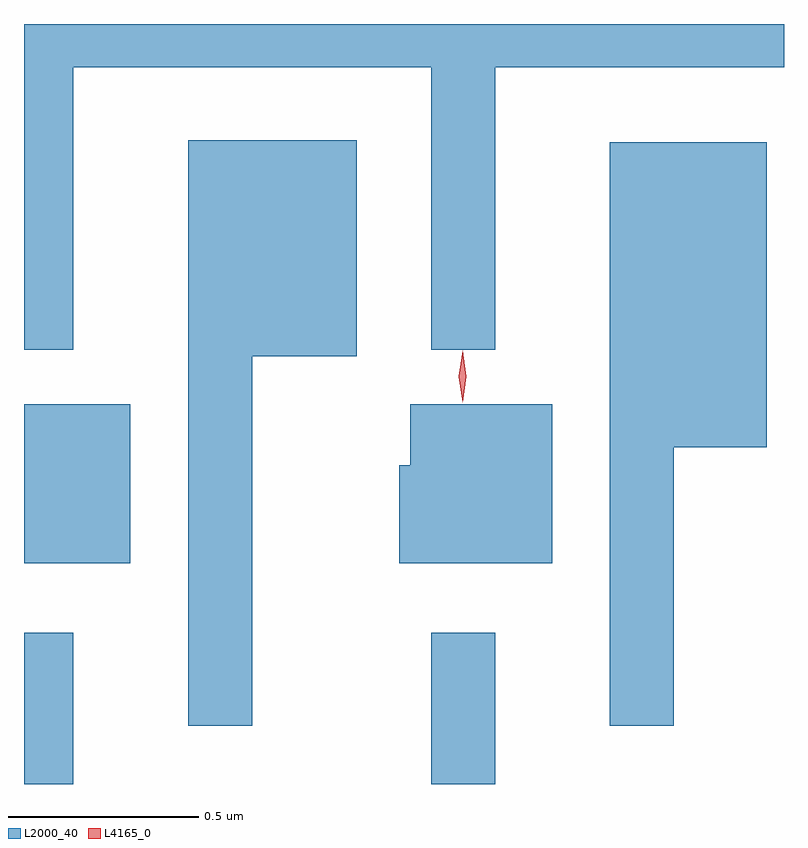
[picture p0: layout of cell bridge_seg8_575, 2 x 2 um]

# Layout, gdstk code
import gdstk
lib = gdstk.Library(unit=1e-6, precision=1e-09)
def R(c, l, rs):  # rectangles x0, y0, x1, y1
    for r in rs: c.add(gdstk.rectangle(r[:2], r[2:], *l))
def P(c, l, *ps):  # polygons
    for p in ps: c.add(gdstk.Polygon(p, *l))
L2000_40 = (2000, 40)
L4165_0 = (4165, 0)

bridge_seg8_575 = lib.new_cell('bridge_seg8_575')
R(bridge_seg8_575, L2000_40, [(553.569,1823.43,553.699,1823.828), (554.641,1823.43,554.809,1823.828), (553.569,1824.011,553.849,1824.429)])
P(bridge_seg8_575, L2000_40, [(553.699,1825.316),(554.641,1825.316),(554.641,1824.573),(554.809,1824.573),(554.809,1825.316),(555.569,1825.316),(555.569,1825.43),(553.569,1825.43),(553.569,1824.573),(553.699,1824.573)],
  [(554.169,1824.556),(554.444,1824.556),(554.444,1825.124),(554.001,1825.124),(554.001,1823.583),(554.169,1823.583)],
  [(555.279,1824.316),(555.524,1824.316),(555.524,1825.119),(555.111,1825.119),(555.111,1823.583),(555.279,1823.583)],
  [(554.959,1824.429),(554.586,1824.429),(554.586,1824.269),(554.556,1824.269),(554.556,1824.011),(554.959,1824.011)])
P(bridge_seg8_575, L4165_0, [(554.723,1824.439),(554.723,1824.439),(554.713,1824.503),(554.723,1824.567),(554.723,1824.567),(554.724,1824.567),(554.733,1824.503),(554.724,1824.439)],
  [(554.723,1824.434),(554.723,1824.434),(554.713,1824.502),(554.723,1824.57),(554.723,1824.57),(554.724,1824.57),(554.733,1824.502),(554.724,1824.434)])

lib.write_gds('bridge_seg8_575.gds')
